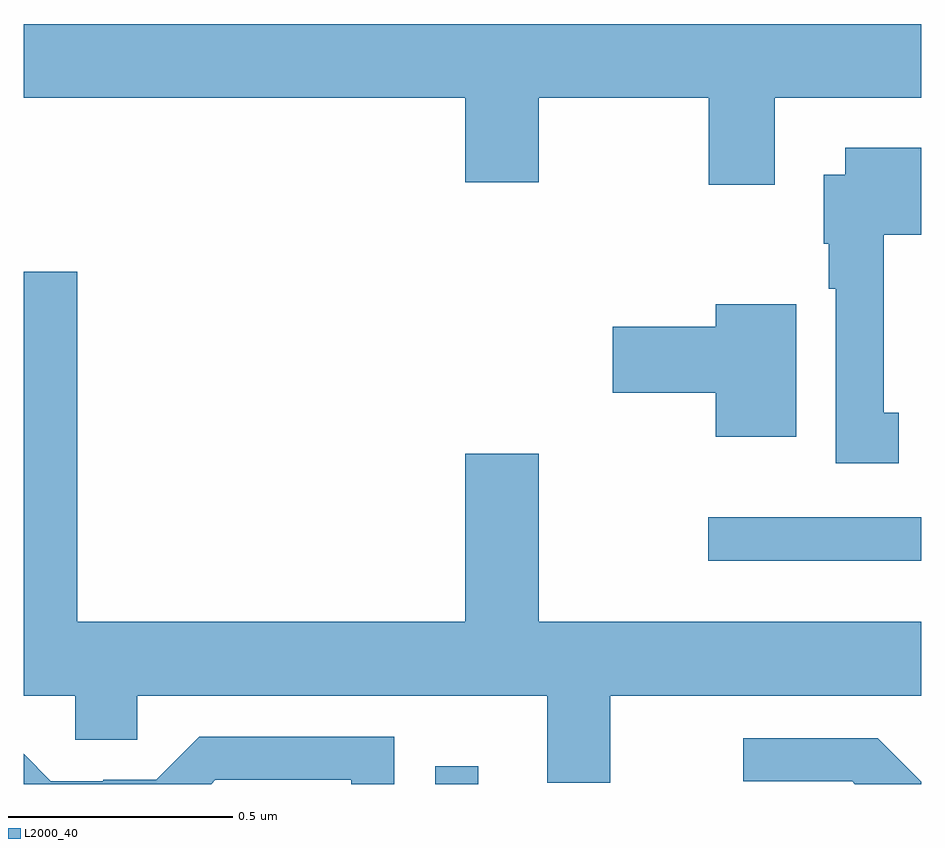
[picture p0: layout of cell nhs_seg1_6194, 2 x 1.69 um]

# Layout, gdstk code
import gdstk
lib = gdstk.Library(unit=1e-6, precision=1e-09)
def R(c, l, rs):  # rectangles x0, y0, x1, y1
    for r in rs: c.add(gdstk.rectangle(r[:2], r[2:], *l))
def P(c, l, *ps):  # polygons
    for p in ps: c.add(gdstk.Polygon(p, *l))
L2000_40 = (2000, 40)

nhs_seg1_6194 = lib.new_cell('nhs_seg1_6194')
R(nhs_seg1_6194, L2000_40, [(188.917,554.199,189.013,554.239), (189.525,554.696,190,554.793)])
P(nhs_seg1_6194, L2000_40, [(189.673,555.728),(190,555.728),(190,555.892),(188,555.892),(188,555.728),(188.984,555.728),(188.984,555.54),(189.148,555.54),(189.148,555.728),(189.526,555.728),(189.526,555.534),(189.673,555.534)],
  [(189.949,555.026),(189.916,555.026),(189.916,555.422),(190,555.422),(190,555.616),(189.83,555.616),(189.83,555.556),(189.782,555.556),(189.782,555.402),(189.794,555.402),(189.794,555.302),(189.809,555.302),(189.809,554.913),(189.949,554.913)],
  [(189.307,554.396),(190,554.396),(190,554.56),(189.148,554.56),(189.148,554.935),(188.984,554.935),(188.984,554.56),(188.12,554.56),(188.12,555.34),(188,555.34),(188,554.396),(188.115,554.396),(188.115,554.298),(188.253,554.298),(188.253,554.396),(189.167,554.396),(189.167,554.202),(189.307,554.202)],
  [(189.721,555.268),(189.542,555.268),(189.542,555.218),(189.312,555.218),(189.312,555.071),(189.542,555.071),(189.542,554.972),(189.721,554.972)],
  [(188.427,554.208),(188.73,554.208),(188.73,554.199),(188.826,554.199),(188.826,554.304),(188.391,554.304),(188.295,554.208),(188.177,554.208),(188.177,554.205),(188.061,554.205),(188,554.266),(188,554.199),(188.418,554.199)],
  [(190,554.204),(189.903,554.301),(189.603,554.301),(189.603,554.205),(189.846,554.205),(189.852,554.199),(190,554.199)])

lib.write_gds('nhs_seg1_6194.gds')
